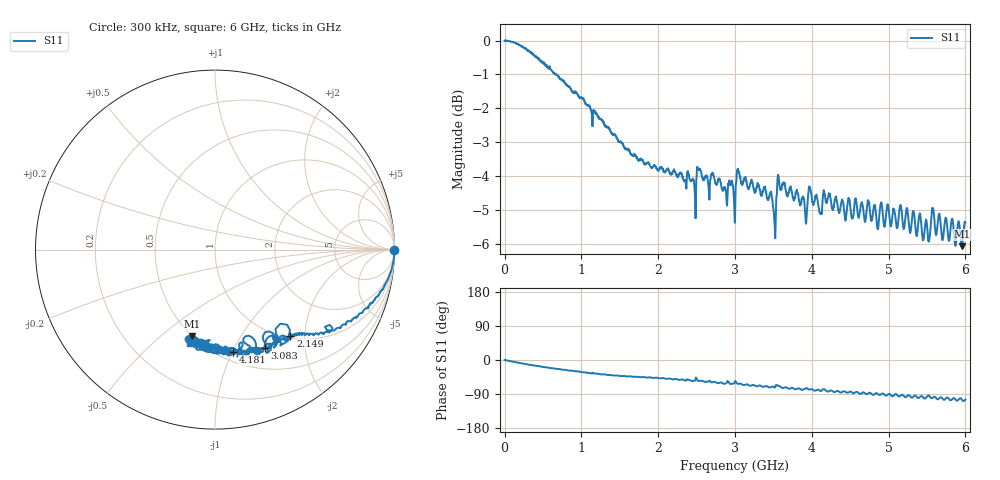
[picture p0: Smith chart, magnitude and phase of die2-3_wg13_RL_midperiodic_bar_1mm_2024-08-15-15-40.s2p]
!Keysight Technologies,P9374A,MY57304198,A.17.20.09
!Date: Thursday, August 15, 2024 15:40:27
!Correction: S11(C  1-Port  )
!S21(C  1-Port  )
!S12(Off)
!S22(Off)
!S2P File: Measurements: S11, S21, S12, S22:
# Hz S  dB  R 50
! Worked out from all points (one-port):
!   6000 points, 300 kHz to 6 GHz, reference 50 ohm
!   lowest |S11| = -6.1 dB at 5.955 GHz (marker M1), VSWR 2.98, Z = 25.1 - j32.1 ohm
!   |S11| at or under -10 dB: nowhere
!   S11 on the Smith chart (normalised r, x): 300 kHz: open; 2.149 GHz: 1.05, -1.69; 3.083 GHz: 0.76, -1.33; 4.181 GHz: 0.59, -1.01; 6 GHz: 0.45, -0.67
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300000  -0.00 -0.0  -200.00 45.0  -200.00 45.0  -200.00 45.0
4.953578e8  -0.64 -18.2  -200.00 45.0  -200.00 45.0  -200.00 45.0
1.000417e9  -1.69 -31.9  -200.00 45.0  -200.00 45.0  -200.00 45.0
1.500475e9  -2.99 -42.2  -200.00 45.0  -200.00 45.0  -200.00 45.0
2.000533e9  -3.83 -47.6  -200.00 45.0  -200.00 45.0  -200.00 45.0
2.148551e9  -3.91 -48.8  -200.00 45.0  -200.00 45.0  -200.00 45.0
2.456587e9  -4.11 -55.2  -200.00 45.0  -200.00 45.0  -200.00 45.0
2.519594e9  -3.81 -55.1  -200.00 45.0  -200.00 45.0  -200.00 45.0
2.862634e9  -4.34 -63.0  -200.00 45.0  -200.00 45.0  -200.00 45.0
3.00065e9  -5.24 -56.4  -200.00 45.0  -200.00 45.0  -200.00 45.0
3.08266e9  -4.23 -63.1  -200.00 45.0  -200.00 45.0  -200.00 45.0
3.458704e9  -4.51 -72.2  -200.00 45.0  -200.00 45.0  -200.00 45.0
3.51671e9  -5.44 -72.8  -200.00 45.0  -200.00 45.0  -200.00 45.0
3.559715e9  -3.97 -67.3  -200.00 45.0  -200.00 45.0  -200.00 45.0
3.624723e9  -4.25 -73.9  -200.00 45.0  -200.00 45.0  -200.00 45.0
3.920757e9  -5.31 -75.5  -200.00 45.0  -200.00 45.0  -200.00 45.0
4.000767e9  -4.66 -76.9  -200.00 45.0  -200.00 45.0  -200.00 45.0
4.180788e9  -4.74 -79.8  -200.00 45.0  -200.00 45.0  -200.00 45.0
5.000883e9  -4.97 -89.7  -200.00 45.0  -200.00 45.0  -200.00 45.0
5.577951e9  -4.96 -98.9  -200.00 45.0  -200.00 45.0  -200.00 45.0
5.954995e9  -6.07 -104.7  -200.00 45.0  -200.00 45.0  -200.00 45.0
6e9  -5.37 -104.5  -200.00 45.0  -200.00 45.0  -200.00 45.0
